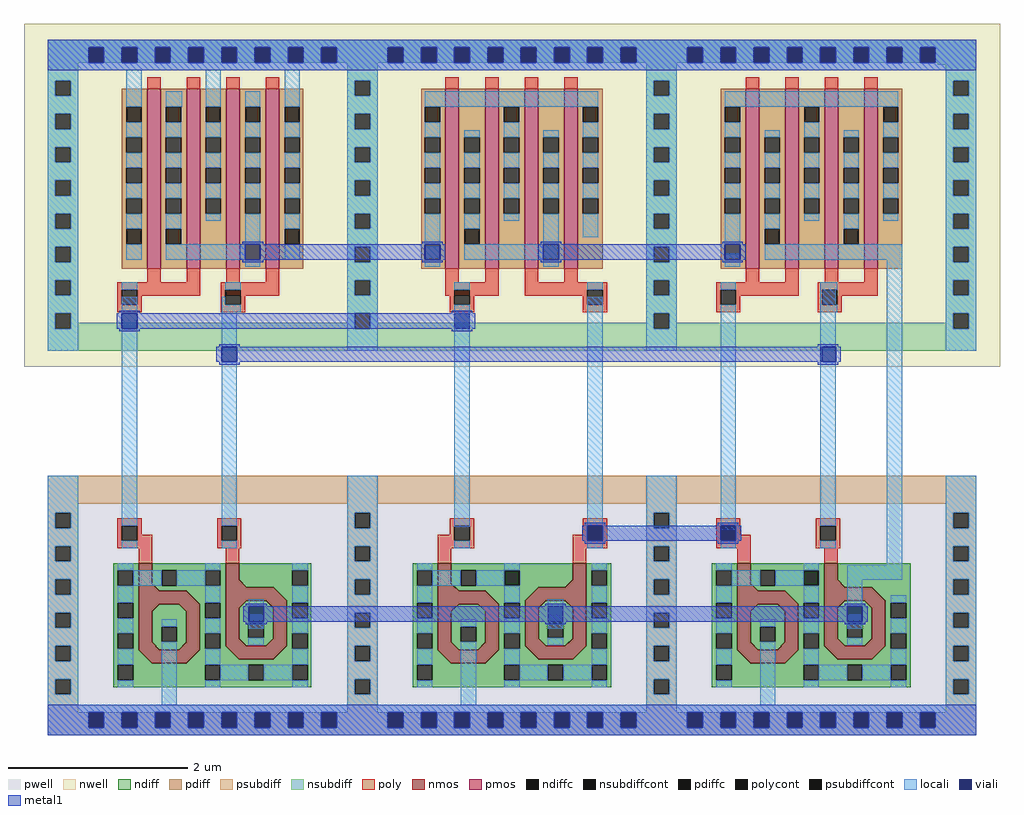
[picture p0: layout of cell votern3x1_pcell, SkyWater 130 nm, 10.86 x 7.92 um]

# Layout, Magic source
magic
tech sky130A
magscale 1 2
<< nwell >>
rect 87 1529 579 1550
rect 753 1529 1245 1550
rect 1419 1529 1911 1550
rect 84 1508 582 1529
rect 34 1503 582 1508
rect 750 1504 1248 1529
rect 1416 1505 1914 1529
rect 34 1456 580 1503
rect 752 1460 1246 1504
rect 1418 1502 1914 1505
rect 1418 1463 1912 1502
rect 750 1456 1246 1460
rect 34 1446 582 1456
rect 84 786 582 1446
rect 750 786 1248 1456
rect 1416 1455 1912 1463
rect 1416 786 1914 1455
<< pwell >>
rect -34 -34 2032 544
<< pdiffc >>
rect 141 1331 175 1365
rect 229 1331 263 1365
rect 317 1331 351 1365
rect 405 1331 439 1365
rect 493 1331 527 1365
rect 805 1331 839 1365
rect 981 1331 1015 1365
rect 1157 1331 1191 1365
rect 1473 1331 1507 1365
rect 1649 1331 1683 1365
rect 1825 1331 1859 1365
rect 141 1059 175 1093
rect 229 1059 263 1093
rect 493 1059 527 1093
rect 893 1059 927 1093
rect 1561 1059 1595 1093
rect 1737 1059 1771 1093
<< psubdiff >>
rect 34 482 632 544
rect 700 482 1298 544
rect 1366 482 1964 544
rect 34 -17 57 17
rect 91 -17 131 17
rect 165 -17 205 17
rect 239 -17 279 17
rect 313 -17 353 17
rect 387 -17 427 17
rect 461 -17 501 17
rect 535 -17 575 17
rect 609 -17 632 17
rect 34 -34 632 -17
rect 700 -17 723 17
rect 757 -17 797 17
rect 831 -17 871 17
rect 905 -17 945 17
rect 979 -17 1019 17
rect 1053 -17 1093 17
rect 1127 -17 1167 17
rect 1201 -17 1241 17
rect 1275 -17 1298 17
rect 700 -34 1298 -17
rect 1366 -17 1389 17
rect 1423 -17 1463 17
rect 1497 -17 1537 17
rect 1571 -17 1611 17
rect 1645 -17 1685 17
rect 1719 -17 1759 17
rect 1793 -17 1833 17
rect 1867 -17 1907 17
rect 1941 -17 1964 17
rect 1366 -34 1964 -17
<< nsubdiff >>
rect 34 1497 632 1514
rect 34 1463 57 1497
rect 91 1463 131 1497
rect 165 1463 205 1497
rect 239 1463 279 1497
rect 313 1463 353 1497
rect 387 1463 427 1497
rect 461 1463 501 1497
rect 535 1463 575 1497
rect 609 1463 632 1497
rect 700 1497 1298 1514
rect 700 1463 723 1497
rect 757 1463 797 1497
rect 831 1463 871 1497
rect 905 1463 945 1497
rect 979 1463 1019 1497
rect 1053 1463 1093 1497
rect 1127 1463 1167 1497
rect 1201 1463 1241 1497
rect 1275 1463 1298 1497
rect 1366 1497 1964 1514
rect 1366 1463 1389 1497
rect 1423 1463 1463 1497
rect 1497 1463 1537 1497
rect 1571 1463 1611 1497
rect 1645 1463 1685 1497
rect 1719 1463 1759 1497
rect 1793 1463 1833 1497
rect 1867 1463 1907 1497
rect 1941 1463 1964 1497
rect 1946 1459 1964 1463
rect 34 822 635 884
rect 697 822 1301 884
rect 1363 822 1964 884
<< psubdiffcont >>
rect 57 -17 91 17
rect 131 -17 165 17
rect 205 -17 239 17
rect 279 -17 313 17
rect 353 -17 387 17
rect 427 -17 461 17
rect 501 -17 535 17
rect 575 -17 609 17
rect 723 -17 757 17
rect 797 -17 831 17
rect 871 -17 905 17
rect 945 -17 979 17
rect 1019 -17 1053 17
rect 1093 -17 1127 17
rect 1167 -17 1201 17
rect 1241 -17 1275 17
rect 1389 -17 1423 17
rect 1463 -17 1497 17
rect 1537 -17 1571 17
rect 1611 -17 1645 17
rect 1685 -17 1719 17
rect 1759 -17 1793 17
rect 1833 -17 1867 17
rect 1907 -17 1941 17
<< nsubdiffcont >>
rect 57 1463 91 1497
rect 131 1463 165 1497
rect 205 1463 239 1497
rect 279 1463 313 1497
rect 353 1463 387 1497
rect 427 1463 461 1497
rect 501 1463 535 1497
rect 575 1463 609 1497
rect 723 1463 757 1497
rect 797 1463 831 1497
rect 871 1463 905 1497
rect 945 1463 979 1497
rect 1019 1463 1053 1497
rect 1093 1463 1127 1497
rect 1167 1463 1201 1497
rect 1241 1463 1275 1497
rect 1389 1463 1423 1497
rect 1463 1463 1497 1497
rect 1537 1463 1571 1497
rect 1611 1463 1645 1497
rect 1685 1463 1719 1497
rect 1759 1463 1793 1497
rect 1833 1463 1867 1497
rect 1907 1463 1941 1497
<< poly >>
rect 175 944 187 974
rect 1145 944 1157 974
rect 1507 944 1519 974
rect 168 375 198 413
rect 362 381 392 383
rect 834 375 864 413
rect 1134 382 1164 413
rect 1500 375 1530 413
rect 1694 382 1724 383
<< locali >>
rect 34 1497 632 1514
rect 34 1463 57 1497
rect 91 1463 131 1497
rect 165 1463 205 1497
rect 239 1463 279 1497
rect 313 1463 353 1497
rect 387 1463 427 1497
rect 461 1463 501 1497
rect 535 1463 575 1497
rect 609 1463 632 1497
rect 34 1446 632 1463
rect 700 1497 1298 1514
rect 700 1463 723 1497
rect 757 1463 797 1497
rect 831 1463 871 1497
rect 905 1463 945 1497
rect 979 1463 1019 1497
rect 1053 1463 1093 1497
rect 1127 1463 1167 1497
rect 1201 1463 1241 1497
rect 1275 1463 1298 1497
rect 700 1446 1298 1463
rect 1366 1497 1964 1514
rect 1366 1463 1389 1497
rect 1423 1463 1463 1497
rect 1497 1463 1537 1497
rect 1571 1463 1611 1497
rect 1645 1463 1685 1497
rect 1719 1463 1759 1497
rect 1793 1463 1833 1497
rect 1867 1463 1907 1497
rect 1941 1463 1964 1497
rect 1366 1446 1964 1463
rect 141 1365 175 1446
rect 141 1313 175 1331
rect 229 1365 265 1399
rect 317 1365 351 1446
rect 229 1313 263 1331
rect 317 1313 351 1331
rect 405 1365 439 1399
rect 405 1313 439 1331
rect 493 1365 527 1446
rect 493 1313 527 1331
rect 805 1365 1191 1399
rect 805 1313 839 1331
rect 981 1313 1015 1331
rect 1157 1313 1191 1331
rect 1473 1365 1859 1399
rect 1473 1313 1507 1331
rect 1649 1313 1683 1331
rect 1825 1313 1859 1331
rect 141 1093 175 1111
rect 141 1025 175 1059
rect 229 1093 263 1111
rect 405 1075 439 1111
rect 493 1093 527 1111
rect 805 1075 839 1127
rect 893 1093 927 1111
rect 229 1025 405 1059
rect 493 1025 527 1059
rect 1069 1075 1103 1111
rect 1157 1075 1191 1111
rect 1473 1075 1507 1111
rect 1561 1093 1595 1111
rect 1737 1093 1771 1127
rect 805 1023 839 1054
rect 893 1025 1103 1059
rect 1473 1025 1507 1038
rect 1561 1025 1867 1059
rect 131 433 165 942
rect 353 908 361 942
rect 353 439 387 908
rect 353 433 357 439
rect 871 430 905 908
rect 1167 433 1201 942
rect 1463 423 1497 908
rect 1685 433 1719 974
rect 1833 346 1867 1025
rect 1745 312 1867 346
rect 1745 269 1779 312
rect 219 34 253 159
rect 885 34 919 159
rect 1551 34 1585 159
rect 34 17 632 34
rect 34 -17 57 17
rect 91 -17 131 17
rect 165 -17 205 17
rect 239 -17 279 17
rect 313 -17 353 17
rect 387 -17 427 17
rect 461 -17 501 17
rect 535 -17 575 17
rect 609 -17 632 17
rect 34 -34 632 -17
rect 700 17 1298 34
rect 700 -17 723 17
rect 757 -17 797 17
rect 831 -17 871 17
rect 905 -17 945 17
rect 979 -17 1019 17
rect 1053 -17 1093 17
rect 1127 -17 1167 17
rect 1201 -17 1241 17
rect 1275 -17 1298 17
rect 700 -34 1298 -17
rect 1366 17 1964 34
rect 1366 -17 1389 17
rect 1423 -17 1463 17
rect 1497 -17 1537 17
rect 1571 -17 1611 17
rect 1645 -17 1685 17
rect 1719 -17 1759 17
rect 1793 -17 1833 17
rect 1867 -17 1907 17
rect 1941 -17 1964 17
rect 1366 -34 1964 -17
<< viali >>
rect 57 1463 91 1497
rect 131 1463 165 1497
rect 205 1463 239 1497
rect 279 1463 313 1497
rect 353 1463 387 1497
rect 427 1463 461 1497
rect 501 1463 535 1497
rect 575 1463 609 1497
rect 723 1463 757 1497
rect 797 1463 831 1497
rect 871 1463 905 1497
rect 945 1463 979 1497
rect 1019 1463 1053 1497
rect 1093 1463 1127 1497
rect 1167 1463 1201 1497
rect 1241 1463 1275 1497
rect 1389 1463 1423 1497
rect 1463 1463 1497 1497
rect 1537 1463 1571 1497
rect 1611 1463 1645 1497
rect 1685 1463 1719 1497
rect 1759 1463 1793 1497
rect 1833 1463 1867 1497
rect 1907 1463 1941 1497
rect 57 -17 91 17
rect 131 -17 165 17
rect 205 -17 239 17
rect 279 -17 313 17
rect 353 -17 387 17
rect 427 -17 461 17
rect 501 -17 535 17
rect 575 -17 609 17
rect 723 -17 757 17
rect 797 -17 831 17
rect 871 -17 905 17
rect 945 -17 979 17
rect 1019 -17 1053 17
rect 1093 -17 1127 17
rect 1167 -17 1201 17
rect 1241 -17 1275 17
rect 1389 -17 1423 17
rect 1463 -17 1497 17
rect 1537 -17 1571 17
rect 1611 -17 1645 17
rect 1685 -17 1719 17
rect 1759 -17 1793 17
rect 1833 -17 1867 17
rect 1907 -17 1941 17
<< metal1 >>
rect 34 1497 632 1514
rect 34 1463 57 1497
rect 91 1463 131 1497
rect 165 1463 205 1497
rect 239 1463 279 1497
rect 313 1463 353 1497
rect 387 1463 427 1497
rect 461 1463 501 1497
rect 535 1463 575 1497
rect 609 1463 632 1497
rect 34 1446 632 1463
rect 700 1497 1298 1514
rect 700 1463 723 1497
rect 757 1463 797 1497
rect 831 1463 871 1497
rect 905 1463 945 1497
rect 979 1463 1019 1497
rect 1053 1463 1093 1497
rect 1127 1463 1167 1497
rect 1201 1463 1241 1497
rect 1275 1463 1298 1497
rect 700 1446 1298 1463
rect 1366 1497 1964 1514
rect 1366 1463 1389 1497
rect 1423 1463 1463 1497
rect 1497 1463 1537 1497
rect 1571 1463 1611 1497
rect 1645 1463 1685 1497
rect 1719 1463 1759 1497
rect 1793 1463 1833 1497
rect 1867 1463 1907 1497
rect 1941 1463 1964 1497
rect 1366 1446 1964 1463
rect 475 1025 799 1059
rect 1135 1025 1466 1059
rect 166 871 905 905
rect 389 797 1690 831
rect 1201 399 1453 433
rect 449 219 1744 253
rect 34 17 632 34
rect 34 -17 57 17
rect 91 -17 131 17
rect 165 -17 205 17
rect 239 -17 279 17
rect 313 -17 353 17
rect 387 -17 427 17
rect 461 -17 501 17
rect 535 -17 575 17
rect 609 -17 632 17
rect 34 -34 632 -17
rect 700 17 1298 34
rect 700 -17 723 17
rect 757 -17 797 17
rect 831 -17 871 17
rect 905 -17 945 17
rect 979 -17 1019 17
rect 1053 -17 1093 17
rect 1127 -17 1167 17
rect 1201 -17 1241 17
rect 1275 -17 1298 17
rect 700 -34 1298 -17
rect 1366 17 1964 34
rect 1366 -17 1389 17
rect 1423 -17 1463 17
rect 1497 -17 1537 17
rect 1571 -17 1611 17
rect 1645 -17 1685 17
rect 1719 -17 1759 17
rect 1793 -17 1833 17
rect 1867 -17 1907 17
rect 1941 -17 1964 17
rect 1366 -34 1964 -17
use li1_M1_contact  li1_M1_contact_15
transform -1 0 148 0 1 888
box -53 -33 29 33
use pmos2_1  pmos2_1_0
transform 1 0 43 0 1 1404
box 52 -460 352 37
use poly_li1_contact  poly_li1_contact_0
transform 0 1 149 -1 0 942
box -32 -28 34 26
use poly_li1_contact  poly_li1_contact_5
transform 0 1 149 -1 0 417
box -32 -28 34 26
use nmos_bottom  nmos_bottom_0
transform -1 0 360 0 1 73
box 0 0 248 302
use diff_ring_side  diff_ring_side_1
transform 1 0 0 0 1 0
box -87 -34 87 1550
use li1_M1_contact  li1_M1_contact_6
transform -1 0 370 0 1 814
box -53 -33 29 33
use pmos2_1  pmos2_1_1
transform 1 0 219 0 1 1404
box 52 -460 352 37
use poly_li1_contact  poly_li1_contact_3
transform 0 1 379 -1 0 942
box -32 -28 34 26
use li1_M1_contact  li1_M1_contact_3
transform -1 0 422 0 1 1042
box -53 -33 29 33
use poly_li1_contact  poly_li1_contact_2
transform 0 -1 369 1 0 415
box -32 -28 34 26
use li1_M1_contact  li1_M1_contact_0
transform -1 0 430 0 1 236
box -53 -33 29 33
use nmos_top  nmos_top_0
transform -1 0 552 0 1 73
box 0 0 246 308
use pmos2_1  pmos2_1_3
transform -1 0 1113 0 1 1404
box 52 -460 352 37
use li1_M1_contact  li1_M1_contact_7
transform 1 0 822 0 -1 1042
box -53 -33 29 33
use nmos_bottom  nmos_bottom_1
transform -1 0 1026 0 1 73
box 0 0 248 302
use diff_ring_side  diff_ring_side_2
transform 1 0 666 0 1 0
box -87 -34 87 1550
use li1_M1_contact  li1_M1_contact_8
transform 1 0 888 0 1 888
box -53 -33 29 33
use pmos2_1  pmos2_1_2
transform -1 0 1289 0 1 1404
box 52 -460 352 37
use poly_li1_contact  poly_li1_contact_7
transform 0 -1 887 -1 0 942
box -32 -28 34 26
use li1_M1_contact  li1_M1_contact_4
transform -1 0 1086 0 -1 1042
box -53 -33 29 33
use poly_li1_contact  poly_li1_contact_4
transform 0 -1 887 -1 0 417
box -32 -28 34 26
use li1_M1_contact  li1_M1_contact_1
transform 1 0 1096 0 1 236
box -53 -33 29 33
use nmos_top_trim1  nmos_top_trim1_0
transform 1 0 972 0 1 73
box 0 0 248 309
use poly_li1_contact  poly_li1_contact_6
transform 0 -1 1183 -1 0 942
box -32 -28 34 26
use li1_M1_contact  li1_M1_contact_11
transform -1 0 1184 0 1 416
box -53 -33 29 33
use poly_li1_contact  poly_li1_contact_1
transform 0 -1 1183 -1 0 417
box -32 -28 34 26
use diff_ring_side  diff_ring_side_3
transform 1 0 1332 0 1 0
box -87 -34 87 1550
use poly_li1_contact  poly_li1_contact_10
transform 0 -1 1479 -1 0 417
box -32 -28 34 26
use li1_M1_contact  li1_M1_contact_14
transform 1 0 1480 0 1 416
box -53 -33 29 33
use li1_M1_contact  li1_M1_contact_2
transform 1 0 1762 0 1 236
box -53 -33 29 33
use poly_li1_contact  poly_li1_contact_11
transform 0 -1 1701 -1 0 417
box -32 -28 34 26
use nmos_bottom  nmos_bottom_2
transform -1 0 1692 0 1 73
box 0 0 248 302
use nmos_top_trim2  nmos_top_trim2_2
transform -1 0 1886 0 1 73
box 0 0 248 309
use li1_M1_contact  li1_M1_contact_16
transform 1 0 1702 0 1 814
box -53 -33 29 33
use poly_li1_contact  poly_li1_contact_8
transform 0 1 1481 -1 0 942
box -32 -28 34 26
use pmos2_1  pmos2_1_4
transform 1 0 1375 0 1 1404
box 52 -460 352 37
use poly_li1_contact  poly_li1_contact_9
transform 0 1 1707 -1 0 942
box -32 -28 34 26
use pmos2_1  pmos2_1_5
transform 1 0 1551 0 1 1404
box 52 -460 352 37
use li1_M1_contact  li1_M1_contact_5
transform 1 0 1490 0 1 1042
box -53 -33 29 33
use diff_ring_side  diff_ring_side_0
transform 1 0 1998 0 1 0
box -87 -34 87 1550
<< end >>

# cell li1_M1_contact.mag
magic
tech sky130A
magscale 1 2
<< locali >>
rect -17 17 17 33
rect -17 -33 17 -17
<< viali >>
rect -17 -17 17 17
<< metal1 >>
rect -23 17 23 23
rect -53 -17 -17 17
rect 17 -17 29 17
rect -23 -23 23 -17
<< end >>

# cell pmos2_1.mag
magic
tech sky130A
magscale 1 2
<< nwell >>
rect 52 -435 352 37
<< pmos >>
rect 144 -399 174 1
rect 232 -399 262 1
<< pdiff >>
rect 88 -107 144 1
rect 88 -141 98 -107
rect 132 -141 144 -107
rect 88 -175 144 -141
rect 88 -209 98 -175
rect 132 -209 144 -175
rect 88 -243 144 -209
rect 88 -277 98 -243
rect 132 -277 144 -243
rect 88 -399 144 -277
rect 174 -107 232 1
rect 174 -141 186 -107
rect 220 -141 232 -107
rect 174 -175 232 -141
rect 174 -209 186 -175
rect 220 -209 232 -175
rect 174 -243 232 -209
rect 174 -277 186 -243
rect 220 -277 232 -243
rect 174 -399 232 -277
rect 262 -107 316 1
rect 262 -141 274 -107
rect 308 -141 316 -107
rect 262 -175 316 -141
rect 262 -209 274 -175
rect 308 -209 316 -175
rect 262 -243 316 -209
rect 262 -277 274 -243
rect 308 -277 316 -243
rect 262 -399 316 -277
<< pdiffc >>
rect 98 -141 132 -107
rect 98 -209 132 -175
rect 98 -277 132 -243
rect 186 -141 220 -107
rect 186 -209 220 -175
rect 186 -277 220 -243
rect 274 -141 308 -107
rect 274 -209 308 -175
rect 274 -277 308 -243
<< poly >>
rect 144 1 174 27
rect 232 1 262 27
rect 144 -430 174 -399
rect 232 -430 262 -399
rect 144 -460 262 -430
<< locali >>
rect 98 -107 132 -91
rect 98 -175 132 -141
rect 98 -243 132 -209
rect 98 -293 132 -277
rect 186 -107 220 -91
rect 186 -175 220 -141
rect 186 -243 220 -209
rect 186 -293 220 -277
rect 274 -107 308 -91
rect 274 -175 308 -141
rect 274 -243 308 -209
rect 274 -293 308 -277
<< end >>

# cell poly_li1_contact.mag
magic
tech sky130A
<< poly >>
rect -16 8 17 13
rect -16 -9 -8 8
rect 9 -9 17 8
rect -16 -14 17 -9
<< polycont >>
rect -8 -9 9 8
<< locali >>
rect -16 -9 -8 8
rect 9 -9 17 8
<< end >>

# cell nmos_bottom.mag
magic
tech sky130A
magscale 1 2
<< nmos >>
tri 146 215 162 231 se
rect 162 215 192 276
tri 56 185 86 215 se
rect 86 185 192 215
rect 56 84 86 185
tri 86 169 102 185 nw
tri 146 169 162 185 ne
tri 86 84 102 100 sw
tri 146 84 162 100 se
rect 162 84 192 185
tri 56 54 86 84 ne
rect 86 54 162 84
tri 162 54 192 84 nw
<< ndiff >>
rect 0 260 162 276
rect 0 226 10 260
rect 44 226 107 260
rect 141 231 162 260
rect 141 226 146 231
rect 0 215 146 226
tri 146 215 162 231 nw
rect 192 260 248 276
rect 192 226 204 260
rect 238 226 248 260
rect 0 188 56 215
rect 0 154 10 188
rect 44 154 56 188
tri 56 185 86 215 nw
rect 192 188 248 226
rect 0 120 56 154
rect 0 86 10 120
rect 44 86 56 120
rect 0 54 56 86
tri 86 169 102 185 se
rect 102 169 146 185
tri 146 169 162 185 sw
rect 86 135 162 169
rect 86 101 107 135
rect 141 101 162 135
rect 86 100 162 101
tri 86 84 102 100 ne
rect 102 84 146 100
tri 146 84 162 100 nw
rect 192 154 204 188
rect 238 154 248 188
rect 192 120 248 154
rect 192 86 204 120
rect 238 86 248 120
tri 56 54 86 84 sw
tri 162 54 192 84 se
rect 192 54 248 86
rect 0 50 248 54
rect 0 16 10 50
rect 44 16 204 50
rect 238 16 248 50
rect 0 0 248 16
<< ndiffc >>
rect 10 226 44 260
rect 107 226 141 260
rect 204 226 238 260
rect 10 154 44 188
rect 10 86 44 120
rect 107 101 141 135
rect 204 154 238 188
rect 204 86 238 120
rect 10 16 44 50
rect 204 16 238 50
<< poly >>
rect 162 276 192 302
<< locali >>
rect 10 260 44 276
rect 204 260 238 276
rect 44 226 107 260
rect 141 226 204 260
rect 10 188 44 226
rect 10 120 44 154
rect 204 188 238 226
rect 10 50 44 86
rect 107 135 141 151
rect 107 85 141 101
rect 204 120 238 154
rect 10 0 44 16
rect 204 50 238 86
rect 204 0 238 16
<< end >>

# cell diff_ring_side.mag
magic
tech sky130A
magscale 1 2
<< nwell >>
rect -87 786 87 1550
<< pwell >>
rect -34 -34 34 544
<< psubdiff >>
rect -34 461 34 544
rect -34 427 -17 461
rect 17 427 34 461
rect -34 387 34 427
rect -34 353 -17 387
rect 17 353 34 387
rect -34 313 34 353
rect -34 279 -17 313
rect 17 279 34 313
rect -34 239 34 279
rect -34 205 -17 239
rect 17 205 34 239
rect -34 165 34 205
rect -34 131 -17 165
rect 17 131 34 165
rect -34 91 34 131
rect -34 57 -17 91
rect 17 57 34 91
rect -34 -34 34 57
<< nsubdiff >>
rect -34 1423 34 1514
rect -34 1389 -17 1423
rect 17 1389 34 1423
rect -34 1349 34 1389
rect -34 1315 -17 1349
rect 17 1315 34 1349
rect -34 1275 34 1315
rect -34 1241 -17 1275
rect 17 1241 34 1275
rect -34 1201 34 1241
rect -34 1167 -17 1201
rect 17 1167 34 1201
rect -34 1127 34 1167
rect -34 1093 -17 1127
rect 17 1093 34 1127
rect -34 1053 34 1093
rect -34 1019 -17 1053
rect 17 1019 34 1053
rect -34 979 34 1019
rect -34 945 -17 979
rect 17 945 34 979
rect -34 905 34 945
rect -34 871 -17 905
rect 17 871 34 905
rect -34 822 34 871
<< psubdiffcont >>
rect -17 427 17 461
rect -17 353 17 387
rect -17 279 17 313
rect -17 205 17 239
rect -17 131 17 165
rect -17 57 17 91
<< nsubdiffcont >>
rect -17 1389 17 1423
rect -17 1315 17 1349
rect -17 1241 17 1275
rect -17 1167 17 1201
rect -17 1093 17 1127
rect -17 1019 17 1053
rect -17 945 17 979
rect -17 871 17 905
<< locali >>
rect -34 1423 34 1514
rect -34 1389 -17 1423
rect 17 1389 34 1423
rect -34 1349 34 1389
rect -34 1315 -17 1349
rect 17 1315 34 1349
rect -34 1275 34 1315
rect -34 1241 -17 1275
rect 17 1241 34 1275
rect -34 1201 34 1241
rect -34 1167 -17 1201
rect 17 1167 34 1201
rect -34 1127 34 1167
rect -34 1093 -17 1127
rect 17 1093 34 1127
rect -34 1053 34 1093
rect -34 1019 -17 1053
rect 17 1019 34 1053
rect -34 979 34 1019
rect -34 945 -17 979
rect 17 945 34 979
rect -34 905 34 945
rect -34 871 -17 905
rect 17 871 34 905
rect -34 822 34 871
rect -34 461 34 544
rect -34 427 -17 461
rect 17 427 34 461
rect -34 387 34 427
rect -34 353 -17 387
rect 17 353 34 387
rect -34 313 34 353
rect -34 279 -17 313
rect 17 279 34 313
rect -34 239 34 279
rect -34 205 -17 239
rect 17 205 34 239
rect -34 165 34 205
rect -34 131 -17 165
rect 17 131 34 165
rect -34 91 34 131
rect -34 57 -17 91
rect 17 57 34 91
rect -34 -34 34 57
<< metal1 >>
rect -34 1446 34 1514
rect -34 -34 34 34
<< end >>

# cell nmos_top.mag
magic
tech sky130A
magscale 1 2
<< nmos >>
tri 144 223 160 239 se
rect 160 223 190 276
tri 54 193 84 223 se
rect 84 193 190 223
rect 54 92 84 193
tri 84 177 100 193 nw
tri 144 177 160 193 ne
tri 84 92 100 108 sw
tri 144 92 160 108 se
rect 160 92 190 193
tri 54 62 84 92 ne
rect 84 62 160 92
tri 160 62 190 92 nw
<< ndiff >>
rect 0 260 160 276
rect 0 226 8 260
rect 42 239 160 260
rect 42 226 144 239
rect 0 223 144 226
tri 144 223 160 239 nw
rect 190 260 246 276
rect 190 226 202 260
rect 236 226 246 260
rect 0 188 54 223
tri 54 193 84 223 nw
rect 0 154 8 188
rect 42 154 54 188
rect 0 120 54 154
rect 0 86 8 120
rect 42 86 54 120
tri 84 177 100 193 se
rect 100 177 144 193
tri 144 177 160 193 sw
rect 84 144 160 177
rect 84 110 106 144
rect 140 110 160 144
rect 84 108 160 110
tri 84 92 100 108 ne
rect 100 92 144 108
tri 144 92 160 108 nw
rect 190 188 246 226
rect 190 154 202 188
rect 236 154 246 188
rect 190 120 246 154
rect 0 62 54 86
tri 54 62 84 92 sw
tri 160 62 190 92 se
rect 190 86 202 120
rect 236 86 246 120
rect 190 62 246 86
rect 0 50 246 62
rect 0 16 8 50
rect 42 16 106 50
rect 140 16 202 50
rect 236 16 246 50
rect 0 0 246 16
<< ndiffc >>
rect 8 226 42 260
rect 202 226 236 260
rect 8 154 42 188
rect 8 86 42 120
rect 106 110 140 144
rect 202 154 236 188
rect 202 86 236 120
rect 8 16 42 50
rect 106 16 140 50
rect 202 16 236 50
<< poly >>
rect 160 276 190 308
<< locali >>
rect 8 260 42 276
rect 8 188 42 226
rect 202 260 236 276
rect 202 188 236 226
rect 8 120 42 154
rect 106 144 140 161
rect 106 94 140 110
rect 202 120 236 154
rect 8 50 42 86
rect 202 50 236 86
rect 42 16 106 50
rect 140 16 202 50
rect 8 0 42 16
rect 202 0 236 16
<< end >>

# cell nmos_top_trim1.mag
magic
tech sky130A
magscale 1 2
<< nmos >>
tri 146 223 162 239 se
rect 162 223 192 276
tri 56 193 86 223 se
rect 86 193 192 223
rect 56 92 86 193
tri 86 177 102 193 nw
tri 146 177 162 193 ne
tri 86 92 102 108 sw
tri 146 92 162 108 se
rect 162 92 192 193
tri 56 62 86 92 ne
rect 86 62 162 92
tri 162 62 192 92 nw
<< ndiff >>
rect 0 239 162 276
rect 0 223 146 239
tri 146 223 162 239 nw
rect 192 260 248 276
rect 192 226 204 260
rect 238 226 248 260
rect 0 188 56 223
tri 56 193 86 223 nw
rect 0 154 10 188
rect 44 154 56 188
rect 0 120 56 154
rect 0 86 10 120
rect 44 86 56 120
tri 86 177 102 193 se
rect 102 177 146 193
tri 146 177 162 193 sw
rect 86 144 162 177
rect 86 110 107 144
rect 141 110 162 144
rect 86 108 162 110
tri 86 92 102 108 ne
rect 102 92 146 108
tri 146 92 162 108 nw
rect 192 188 248 226
rect 192 154 204 188
rect 238 154 248 188
rect 192 120 248 154
rect 0 62 56 86
tri 56 62 86 92 sw
tri 162 62 192 92 se
rect 192 86 204 120
rect 238 86 248 120
rect 192 62 248 86
rect 0 50 248 62
rect 0 16 10 50
rect 44 16 107 50
rect 141 16 204 50
rect 238 16 248 50
rect 0 0 248 16
<< ndiffc >>
rect 204 226 238 260
rect 10 154 44 188
rect 10 86 44 120
rect 107 110 141 144
rect 204 154 238 188
rect 204 86 238 120
rect 10 16 44 50
rect 107 16 141 50
rect 204 16 238 50
<< poly >>
rect 162 276 192 309
<< locali >>
rect 204 260 238 276
rect 10 188 44 204
rect 204 188 238 226
rect 10 120 44 154
rect 107 144 141 161
rect 107 94 141 110
rect 204 120 238 154
rect 10 50 44 86
rect 204 50 238 86
rect 44 16 107 50
rect 141 16 204 50
rect 10 0 44 16
rect 204 0 238 16
<< end >>

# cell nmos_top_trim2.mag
magic
tech sky130A
magscale 1 2
<< nmos >>
tri 146 223 162 239 se
rect 162 223 192 276
tri 56 193 86 223 se
rect 86 193 192 223
rect 56 178 87 193
tri 87 178 102 193 nw
tri 146 178 161 193 ne
rect 161 178 192 193
rect 56 92 86 178
tri 86 92 102 108 sw
tri 146 92 162 108 se
rect 162 92 192 178
tri 56 62 86 92 ne
rect 86 62 162 92
tri 162 62 192 92 nw
<< ndiff >>
rect 0 239 162 276
rect 0 223 146 239
tri 146 223 162 239 nw
rect 0 188 56 223
tri 56 193 86 223 nw
rect 0 154 10 188
rect 44 154 56 188
tri 87 178 102 193 se
rect 102 178 146 193
tri 146 178 161 193 sw
rect 192 188 248 276
rect 0 120 56 154
rect 0 86 10 120
rect 44 86 56 120
rect 86 144 162 178
rect 86 110 107 144
rect 141 110 162 144
rect 86 108 162 110
tri 86 92 102 108 ne
rect 102 92 146 108
tri 146 92 162 108 nw
rect 192 154 204 188
rect 238 154 248 188
rect 192 120 248 154
rect 0 62 56 86
tri 56 62 86 92 sw
tri 162 62 192 92 se
rect 192 86 204 120
rect 238 86 248 120
rect 192 62 248 86
rect 0 50 248 62
rect 0 16 10 50
rect 44 16 107 50
rect 141 16 204 50
rect 238 16 248 50
rect 0 0 248 16
<< ndiffc >>
rect 10 154 44 188
rect 10 86 44 120
rect 107 110 141 144
rect 204 154 238 188
rect 204 86 238 120
rect 10 16 44 50
rect 107 16 141 50
rect 204 16 238 50
<< poly >>
rect 162 276 192 309
<< locali >>
rect 10 188 44 205
rect 204 188 238 205
rect 10 120 44 154
rect 107 144 141 161
rect 107 94 141 110
rect 204 120 238 154
rect 10 50 44 86
rect 204 50 238 86
rect 44 16 107 50
rect 141 16 204 50
rect 10 0 44 16
rect 204 0 238 16
<< end >>
